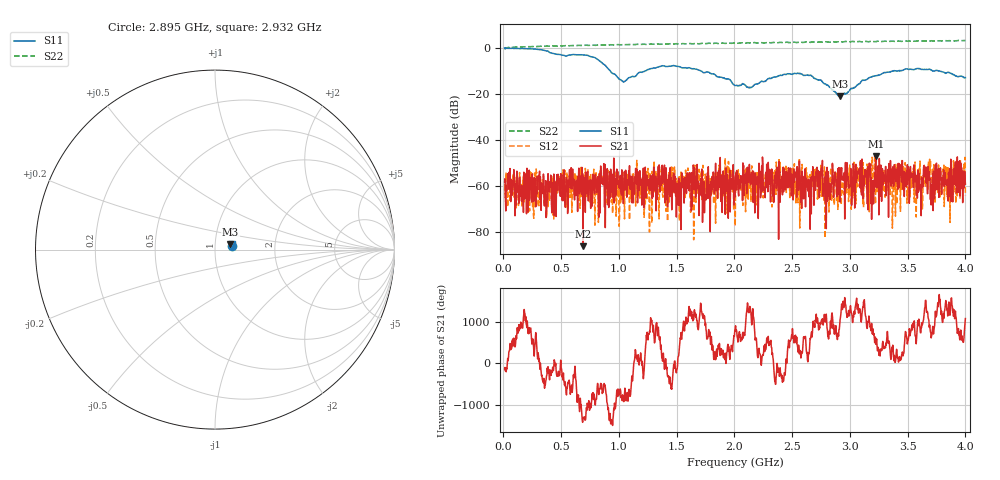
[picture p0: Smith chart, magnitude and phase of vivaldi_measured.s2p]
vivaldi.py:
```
"""
Vivaldi Antenna
==============

Import Gerber files of a vivaldi antenna and compare the S-parameters with measured results.
"""

# sphinx_gallery_thumbnail_number = -1

import numpy as np 
import matplotlib.pyplot as plt 
from rfnetwork import conv
import pyvista as pv
import rfnetwork as rfn

from pathlib import Path
import numpy as np

# set matplotlib style
plt.style.use(rfn.DEFAULT_STYLE)

try:
    dir_ = Path(__file__).parent
except:
    dir_ = Path().cwd()

# %%
# Build model
# ----------------
# Import Gerber files into model.

# create model instance with a bounding box extending past the board files a bit to allow for PML layers.
# Boards will be placed in the xz plane.
bounding_box = pv.Box((-0.9, 0.9, -2.6, 2.6, -0.8, 4.8))
s = rfn.FDTD_Solver(bounding_box)

# add FR-4 board
sub_h = 0.06
substrate = pv.Box((-sub_h, 0, -2.0, 2.0, 0, 4))
s.add_dielectric(substrate, er=4.5, loss_tan=0.015, f0=1e9, style=dict(opacity=0.8))

# Aligning the gerber files can be tricky since they often contain margins that go past the physical extent of the board
# The images can be plotted with interactive markers showing the physical coordinates, and allows experimenting
# with different origins.
rfn.utils_mesh.plot_gerber(dir_ / "data/lab_project-F_Cu.gbr", origin=(-1.83, 0.175))

# import bottom layer gerber file. Origin is the location of the lower left corner in the physical grid.
# this gerber file has a 20mil margin, board is placed so the corner of the usable board is at x=-2in, z=0in.
s.add_image_layer(
    filepath = dir_ / "data/lab_project-B_Cu.gbr",
    origin = (-sub_h, -2.0197, -0.0197),  
    width_axis = "y",
    length_axis = "z",
    style=dict(color="blue")
)

s.add_image_layer(
    filepath = dir_ / "data/lab_project-F_Cu.gbr",
    origin = (0, -1.83, 0.175),
    width_axis = "y",
    length_axis = "z",
    style=dict(color="gold")
)

# ensure the microstrip trace extends all the way to the edge of the board.
port_y = 2
port_z0, port_z1 = (0.949, 1.059)

trace_extension = pv.Rectangle(((0, port_y - 0.1, port_z0), (0, port_y, port_z0), (0, port_y, port_z1)))
s.add_conductor(trace_extension, style=dict(color="gold"))

# add lumped port
port_face = pv.Rectangle(((-sub_h, port_y, port_z0), (-sub_h, port_y, port_z1), (0, port_y, port_z1)))
s.add_lumped_port(1, port_face, "x+")

# Assign PML layers on all sides, including the bottom
s.add_PML("x-", "x+", "y-", "y+", "z-", "z+", n_pml=6)
s.generate_mesh(0.07, 0.01)

fig, ax = plt.subplots()
p = s.render(show_mesh=False, axes=ax)



# %%
# Setup Solver
# ------------
# Add field monitors/excitations and run solver

s.add_field_monitor("mon1", "e_total", axis="x", position=-sub_h, n_step=20)
s.add_farfield_monitor([2e9, 3e9])

vsrc = s.gaussian_source(width=100e-12, t0=50e-12, t_len=5000e-12)

s.assign_excitation(vsrc, 1)
s.solve()


# %%
# Post Processing
# ---------------

# get measured s-parameter data as a reference
ref_sdata = rfn.Component_SnP(dir_ / "data/vivaldi_measured.s2p")

# plot s-parameters. The grid here is quite coarse and results can be improved by lowering d_edge in generate_mesh
frequency = np.arange(0.01, 4, 0.01) * 1e9
sdata = s.get_sparameters(frequency, downsample=False)
S11 = sdata.sel(b=1)

fig, ax = plt.subplots()
ax.plot(frequency / 1e9, conv.db20_lin(S11))
ref_sdata.plot(11, frequency=frequency, axes=ax)
ax.set_ylim([-20, 5])
ax.set_xlabel("Frequency [GHz]")
ax.set_ylabel("[dB]")
ax.legend(["Simulated S11", "Measured S11"])
ax.set_xticks(np.arange(0, 4.5, 0.5))

# plot far-field cut along theta at phi=0
ph = 90
theta_cut = s.get_farfield_gain(theta=np.arange(-180, 181, 2), phi=ph).sel(polarization="thetapol")

fig1, ax = plt.subplots(subplot_kw=dict(projection="polar"))
theta_cut.plot("theta", xfmt=np.deg2rad, yfmt="db20")


# %%
# 2D Pattern
# ----------
pattern = s.get_farfield_gain(theta=np.arange(0, 91, 2), phi=np.arange(-180, 182, 2))

# project to y-polarization
ptn_ypol = rfn.antennas.pattern_spherical2rectangular(pattern)
# convert to uv coordinates
ptn_uv = rfn.antennas.pattern_phitheta2uv(
    ptn_ypol, 
    u=np.linspace(-1, 1, 301), 
    v=np.linspace(-1, 1, 301)
)

pattern_db = rfn.conv.db20_lin(ptn_uv).sel(frequency=3e9)

fig, axes = plt.subplots(1, 2, figsize=(8, 5))

for (ax, pol) in zip(axes, ["x", "y"]):
    im = ax.pcolormesh(ptn_uv.u, ptn_uv.v, pattern_db.sel(polarization=pol).T, vmin=-20, vmax=10, cmap="jet")
    fig.colorbar(im, label="Gain [dB]", shrink=0.5)
    ax.set_xlabel("U")
    ax.set_ylabel("V")
    ax.set_aspect("equal")
    ax.set_title(f"{pol}-polarization, 3 GHz")

fig.tight_layout()
plt.show()

# %%
# Plot near-field
# ---------------
# Re-solve with a narrow-band excitation and plot near-field monitor
#
# .. image:: ../_static/img/vivaldi.gif

# excitation centered around 3 GHz. The signal still has significant broad-band energy outside of 3GHz, but it 
# makes it easier to see the general response at a single frequency.
vsrc = s.gaussian_modulated_source(3e9, width=1300e-12, t0=600e-12, t_len=2000e-12)
s.reset_excitations()
s.assign_excitation(vsrc, 1)
# start solver with the new excitation
s.solve()

# plot near-field monitor and save as a .gif file
gif_setup = dict(file = dir_ / "../docs/_static/img/vivaldi.gif", step_ps=20)
p = s.plot_monitor(
    "mon1", opacity="linear", camera_position="yz", vmin=20, vmax=60, gif_setup=gif_setup
)
```
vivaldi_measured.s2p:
!Keysight Technologies,P9374A
!Date: Tuesday, April 18, 2023 20:00:51
!Correction: S11(Full 2 Port(1,2))
!S21(Full 2 Port(1,2))
!S12(Full 2 Port(1,2))
!S22(Full 2 Port(1,2))
!S2P File: Measurements: S11, S21, S12, S22:
# Hz S  RI  R 50
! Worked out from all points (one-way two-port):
!   1200 points, 10 MHz to 4 GHz, reference 50 ohm
!   highest |S21| = -47.02 dB at 3.225 GHz (marker M1); lowest = -86.4 dB at 688.9 MHz (marker M2)
!   lowest |S11| = -20.9 dB at 2.912 GHz (marker M3), VSWR 1.20, Z = 59.1 + j3.5 ohm
!   |S11| at or under -10 dB: 926.5 MHz to 1.22 GHz (293.6 MHz wide, 27.4 % of centre); 1.716 GHz to 3.366 GHz (1.65 GHz wide, 64.9 % of centre); 3.781 GHz to end of sweep
!   |S22| runs from -0.2 to 3.4 dB; largest |S21 - S12| = 0.007
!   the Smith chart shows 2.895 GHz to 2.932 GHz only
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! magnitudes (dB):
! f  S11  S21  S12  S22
! 10 MHz  0.1  -58.4  -61.9  0.0
! 688.9 MHz  -2.9  -86.4  -57.4  1.2
! 1.035 GHz  -14.4  -61.6  -54.3  1.6
! 1.478 GHz  -7.5  -55.3  -63.1  1.9
! 1.634 GHz  -8.9  -68.9  -70.8  1.9
! 1.957 GHz  -13.6  -57.4  -52.3  2.3
! 2.007 GHz  -16.2  -56.5  -77.6  2.4
! 2.559 GHz  -11.0  -55.6  -60.5  2.7
! 2.912 GHz  -20.9  -65.6  -61.9  2.9
! 3.225 GHz  -12.0  -47.0  -53.8  2.9
! 4 GHz  -12.8  -59.3  -64.3  3.4
